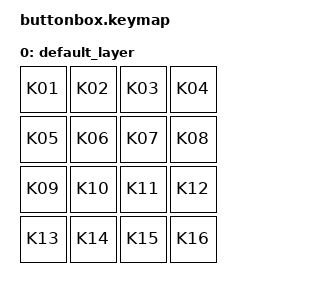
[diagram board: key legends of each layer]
#include <behaviors.dtsi>
#include <dt-bindings/zmk/keys.h>

 / {
    keymap {
        compatible = "zmk,keymap";

        default_layer {
            bindings = <
                &kp K01  &kp K02  &kp K03  &kp K04
                &kp K05  &kp K06  &kp K07  &kp K08
                &kp K09  &kp K10  &kp K11  &kp K12
                &kp K13  &kp K14  &kp K15  &kp K16
            >;
        };
    };
};
